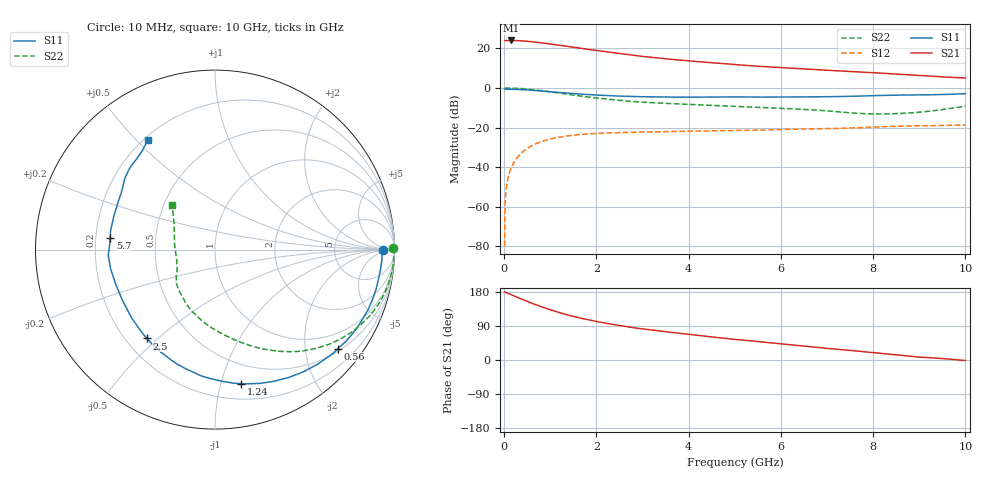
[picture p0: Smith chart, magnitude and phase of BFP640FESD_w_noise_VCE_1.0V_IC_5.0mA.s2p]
! Infineon Technologies  Discrete & RF Semiconductors
! BFP640FESD
! VCE =  1.0 V,  IC =  5.0 mA
! Common Emitter S-Parameters:  Jan 2016
# GHz  S  MA  R  50
!  f  S11  S21  S12  S22
! GHz  MAG  ANG  MAG  ANG  MAG  ANG  MAG  ANG
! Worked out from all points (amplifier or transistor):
!   233 points, 10 MHz to 10 GHz, reference 50 ohm
!   highest |S21| = 24.0 dB at 150 MHz (marker M1)
!   |S21| within 3 dB of that: start of sweep to 1.379 GHz
!   unconditionally stable (mu >= 1): start of sweep to 10.24 MHz; 6.101 GHz to end of sweep
!   at 200 MHz: K = 0.01, MSG = 31.1 dB, |S12| = -38.1 dB
!   at 1.74 GHz: K = 0.30, MSG = 21.6 dB, |S12| = -23.4 dB
!   at 10 GHz: K = 1.25, MAG = 8.9 dB, |S12| = -18.8 dB
!   lowest NFmin = 0.54 dB at 450 MHz
!   S11 on the Smith chart (normalised r, x): 10 MHz: 31, -1; 560 MHz: 0.56, -2.74; 1.24 GHz: 0.33, -1.16; 2.5 GHz: 0.29, -0.46; 5.7 GHz: 0.26, +0.05; 10 GHz: 0.22, +0.54
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0.01  0.9368 -0.1  15.77 179.7  0.0001 50.6  0.9916 0.5
0.015  0.9338 -0.7  15.75 179.5  0.0006 87.8  0.9946 -0.3
0.02  0.9309 -1.3  15.73 179.2  0.0012 90.7  0.9978 -1.0
0.04  0.9313 -2.8  15.75 178.0  0.0025 89.0  0.9977 -1.9
0.15  0.9252 -10.8  15.88 172.5  0.0094 84.3  0.9935 -7.1
0.34  0.9111 -23.9  15.61 162.7  0.0207 76.6  0.9699 -15.9
0.56  0.8799 -38.8  14.91 151.7  0.0326 68.1  0.9228 -25.7
0.7  0.8579 -48.0  14.38 145.2  0.0395 63.3  0.8872 -31.5
0.9  0.8219 -60.2  13.46 136.6  0.0477 56.9  0.8301 -39.2
1.24  0.7607 -79.0  11.88 123.5  0.0583 47.7  0.7305 -50.9
1.4  0.7341 -87.0  11.15 118.0  0.062 44.0  0.6862 -55.9
1.68  0.6966 -99.3  9.997 109.8  0.0669 38.7  0.6197 -63.6
2.1  0.6533 -114.6  8.507 99.4  0.0717 32.9  0.5418 -73.6
2.5  0.6232 -127.4  7.393 90.9  0.0747 28.7  0.4856 -82.4
3  0.6002 -140.9  6.281 81.9  0.077 25.0  0.4373 -92.2
3.4  0.5886 -149.4  5.608 76.2  0.0782 23.4  0.4131 -97.9
4.3  0.5874 -165.9  4.536 63.7  0.0818 21.0  0.3711 -109.0
5.1  0.5935 -178.2  3.826 53.3  0.0842 19.7  0.3381 -119.2
5.7  0.5877 173.8  3.432 46.4  0.0872 19.8  0.3165 -125.5
6.8  0.5969 157.1  2.896 33.2  0.0927 18.0  0.2728 -142.2
8.4  0.6548 137.1  2.282 14.4  0.1067 16.6  0.2226 178.9
10  0.7145 121.7  1.781 -1.4  0.1154 11.0  0.3461 133.9
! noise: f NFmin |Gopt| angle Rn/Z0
0.45  0.54  0.48  8  0.13
2.4  0.7  0.27  57  0.12
5.5  0.99  0.39  149  0.08
10  1.84  0.51  -122  0.24
